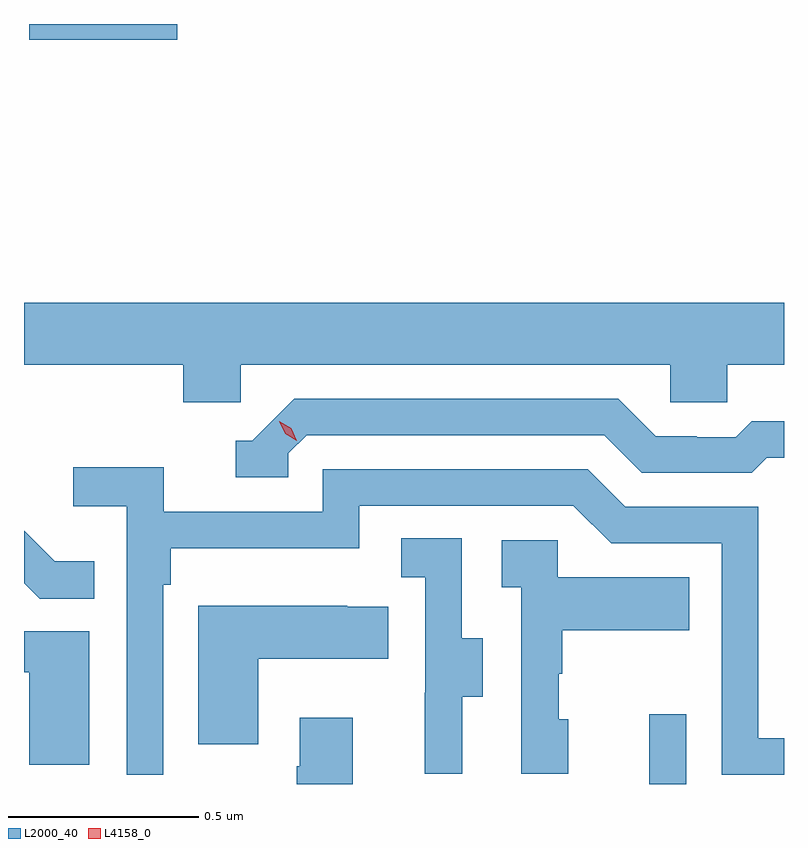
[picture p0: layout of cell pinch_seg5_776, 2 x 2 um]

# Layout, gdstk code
import gdstk
lib = gdstk.Library(unit=1e-6, precision=1e-09)
def R(c, l, rs):  # rectangles x0, y0, x1, y1
    for r in rs: c.add(gdstk.rectangle(r[:2], r[2:], *l))
def P(c, l, *ps):  # polygons
    for p in ps: c.add(gdstk.Polygon(p, *l))
L2000_40 = (2000, 40)
L4158_0 = (4158, 0)

pinch_seg5_776 = lib.new_cell('pinch_seg5_776')
R(pinch_seg5_776, L2000_40, [(840.302,899.613,840.399,899.797), (838.67,901.571,839.059,901.613)])
P(pinch_seg5_776, L2000_40, [(839.226,900.716),(840.357,900.716),(840.357,900.618),(840.507,900.618),(840.507,900.716),(840.656,900.716),(840.656,900.88),(838.656,900.88),(838.656,900.716),(839.075,900.716),(839.075,900.618),(839.226,900.618)],
  [(839.352,900.483),(839.4,900.531),(840.183,900.531),(840.282,900.432),(840.571,900.432),(840.61,900.471),(840.656,900.471),(840.656,900.568),(840.571,900.568),(840.529,900.525),(840.426,900.525),(840.426,900.528),(840.319,900.528),(840.22,900.627),(839.367,900.627),(839.256,900.516),(839.213,900.516),(839.213,900.42),(839.352,900.42)],
  [(839.022,900.137),(839.042,900.137),(839.042,900.233),(839.538,900.233),(839.538,900.345),(840.102,900.345),(840.201,900.246),(840.492,900.246),(840.492,899.637),(840.656,899.637),(840.656,899.733),(840.588,899.733),(840.588,900.342),(840.238,900.342),(840.139,900.441),(839.442,900.441),(839.442,900.33),(839.024,900.33),(839.024,900.446),(838.785,900.446),(838.785,900.344),(838.926,900.344),(838.926,899.637),(839.022,899.637)],
  [(838.841,900.199),(838.737,900.199),(838.656,900.28),(838.656,900.141),(838.697,900.1),(838.841,900.1)],
  [(839.809,899.842),(839.863,899.842),(839.863,899.997),(839.808,899.997),(839.808,900.26),(839.649,900.26),(839.649,900.157),(839.712,900.157),(839.712,899.853),(839.711,899.853),(839.711,899.64),(839.809,899.64)],
  [(840.088,899.784),(840.063,899.784),(840.063,899.903),(840.073,899.903),(840.073,900.017),(840.407,900.017),(840.407,900.157),(840.06,900.157),(840.06,900.255),(839.913,900.255),(839.913,900.131),(839.964,900.131),(839.964,899.64),(840.088,899.64)],
  [(839.272,899.942),(839.615,899.942),(839.615,900.079),(839.507,900.079),(839.507,900.082),(839.114,900.082),(839.114,899.718),(839.272,899.718)],
  [(838.828,900.015),(838.656,900.015),(838.656,899.907),(838.67,899.907),(838.67,899.664),(838.828,899.664)],
  [(839.521,899.788),(839.381,899.788),(839.381,899.66),(839.374,899.66),(839.374,899.613),(839.521,899.613)])
P(pinch_seg5_776, L4158_0, [(839.374,900.516),(839.344,900.535),(839.328,900.568),(839.328,900.568),(839.328,900.568),(839.359,900.549),(839.374,900.516),(839.374,900.516)])

lib.write_gds('pinch_seg5_776.gds')
